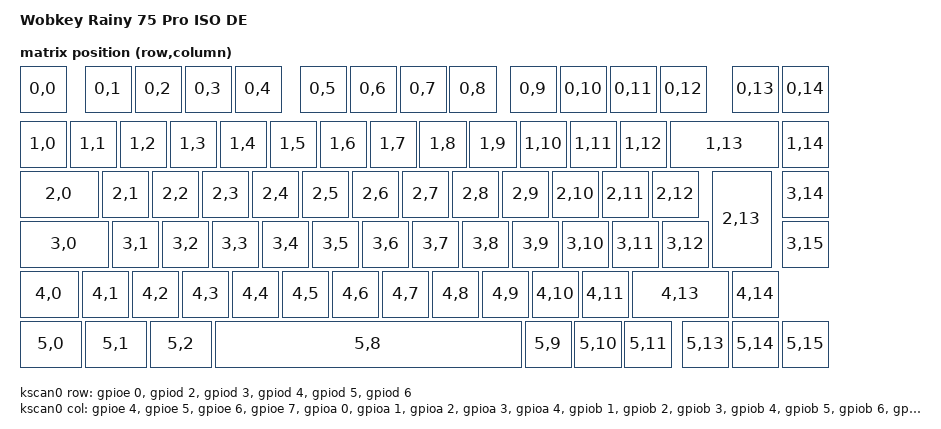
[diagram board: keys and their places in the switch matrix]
/dts-v1/;

#include <freq.h>
#include <telink/telink_b91.dtsi>
#include <zephyr/dt-bindings/gpio/gpio.h>
#include <dt-bindings/zmk/matrix_transform.h>
#include <dt-bindings/led/led.h>
#include <physical_layouts.dtsi>

/ {
	model = "Wobkey Rainy 75 Pro ISO DE";
	compatible = "wobkey,rainy75";

	aliases {
		watchdog0 = &wdt0;
	};

	chosen {
		zephyr,sram = &ram_dlm;
		zephyr,flash = &flash;
		zephyr,flash-controller = &flash_mspi;
		zephyr,code-partition = &slot0_partition;
		zephyr,bt-hci = &bt_hci;
		/* B91 USB SRAM is only 256 bytes — one CDC ACM for mcumgr
		 * DFU (defined in conf/mcumgr.overlay).  Studio uses BLE
		 * GATT transport.  Console logs go to internal ring buffer. */
		zmk,battery = &battery;
		zmk,underglow = &led_strip;
		zmk,kscan = &kscan0;
		zmk,physical-layout = &rainy75_layout;
	};

	bt_hci: bt_hci {
		compatible = "telink,b91-bt-hci";
		status = "okay";
	};

	default_transform: keymap_transform_0 {
		compatible = "zmk,matrix-transform";
		columns = <16>;
		rows = <6>;
		/*
		 * Row 0: ESC  F1  F2  F3  F4  F5  F6  F7  F8  F9  F10  F11  F12  DEL  HOME
		 * Row 1:  `    1   2   3   4   5   6   7   8   9   0    -    =   BKSP  END
		 * Row 2: TAB   Q   W   E   R   T   Y   U   I   O   P    [    ]   ENT
		 * Row 3: CAPS  A   S   D   F   G   H   J   K   L   ;    '    #       PGUP PGDN
		 * Row 4: LSFT  <>  Z   X   C   V   B   N   M   ,   .    /       RSFT  UP
		 * Row 5: LCTL LGUI LALT             SPC            RALT  Fn  RCTL LEFT DOWN RGHT
		 */
		map = <
			RC(0,0) RC(0,1) RC(0,2) RC(0,3) RC(0,4) RC(0,5) RC(0,6) RC(0,7) RC(0,8) RC(0,9) RC(0,10) RC(0,11) RC(0,12) RC(0,13) RC(0,14)
			RC(1,0) RC(1,1) RC(1,2) RC(1,3) RC(1,4) RC(1,5) RC(1,6) RC(1,7) RC(1,8) RC(1,9) RC(1,10) RC(1,11) RC(1,12) RC(1,13) RC(1,14)
			RC(2,0) RC(2,1) RC(2,2) RC(2,3) RC(2,4) RC(2,5) RC(2,6) RC(2,7) RC(2,8) RC(2,9) RC(2,10) RC(2,11) RC(2,12) RC(2,13)
			RC(3,0) RC(3,1) RC(3,2) RC(3,3) RC(3,4) RC(3,5) RC(3,6) RC(3,7) RC(3,8) RC(3,9) RC(3,10) RC(3,11) RC(3,12)           RC(3,14) RC(3,15)
			RC(4,0) RC(4,1) RC(4,2) RC(4,3) RC(4,4) RC(4,5) RC(4,6) RC(4,7) RC(4,8) RC(4,9) RC(4,10) RC(4,11)           RC(4,13) RC(4,14)
			RC(5,0) RC(5,1) RC(5,2)                                         RC(5,8) RC(5,9)  RC(5,10) RC(5,11)           RC(5,13) RC(5,14) RC(5,15)
		>;
	};

	rainy75_layout: rainy75_layout {
		compatible = "zmk,physical-layout";
		display-name = "Rainy 75 Pro ISO";
		transform = <&default_transform>;

		keys  //                     w   h    x    y     rot    rx    ry
		    = <&key_physical_attrs 100 100    0    0       0     0     0>  /* ESC */
		    , <&key_physical_attrs 100 100  130    0       0     0     0>  /* F1 */
		    , <&key_physical_attrs 100 100  230    0       0     0     0>  /* F2 */
		    , <&key_physical_attrs 100 100  330    0       0     0     0>  /* F3 */
		    , <&key_physical_attrs 100 100  430    0       0     0     0>  /* F4 */
		    , <&key_physical_attrs 100 100  560    0       0     0     0>  /* F5 */
		    , <&key_physical_attrs 100 100  660    0       0     0     0>  /* F6 */
		    , <&key_physical_attrs 100 100  760    0       0     0     0>  /* F7 */
		    , <&key_physical_attrs 100 100  860    0       0     0     0>  /* F8 */
		    , <&key_physical_attrs 100 100  980    0       0     0     0>  /* F9 */
		    , <&key_physical_attrs 100 100 1080    0       0     0     0>  /* F10 */
		    , <&key_physical_attrs 100 100 1180    0       0     0     0>  /* F11 */
		    , <&key_physical_attrs 100 100 1280    0       0     0     0>  /* F12 */
		    , <&key_physical_attrs 100 100 1425    0       0     0     0>  /* DEL */
		    , <&key_physical_attrs 100 100 1525    0       0     0     0>  /* HOME */
		    , <&key_physical_attrs 100 100    0  110       0     0     0>  /* ` */
		    , <&key_physical_attrs 100 100  100  110       0     0     0>  /* 1 */
		    , <&key_physical_attrs 100 100  200  110       0     0     0>  /* 2 */
		    , <&key_physical_attrs 100 100  300  110       0     0     0>  /* 3 */
		    , <&key_physical_attrs 100 100  400  110       0     0     0>  /* 4 */
		    , <&key_physical_attrs 100 100  500  110       0     0     0>  /* 5 */
		    , <&key_physical_attrs 100 100  600  110       0     0     0>  /* 6 */
		    , <&key_physical_attrs 100 100  700  110       0     0     0>  /* 7 */
		    , <&key_physical_attrs 100 100  800  110       0     0     0>  /* 8 */
		    , <&key_physical_attrs 100 100  900  110       0     0     0>  /* 9 */
		    , <&key_physical_attrs 100 100 1000  110       0     0     0>  /* 0 */
		    , <&key_physical_attrs 100 100 1100  110       0     0     0>  /* - */
		    , <&key_physical_attrs 100 100 1200  110       0     0     0>  /* = */
		    , <&key_physical_attrs 225 100 1300  110       0     0     0>  /* BKSP */
		    , <&key_physical_attrs 100 100 1525  110       0     0     0>  /* END */
		    , <&key_physical_attrs 165 100    0  210       0     0     0>  /* TAB */
		    , <&key_physical_attrs 100 100  165  210       0     0     0>  /* Q */
		    , <&key_physical_attrs 100 100  265  210       0     0     0>  /* W */
		    , <&key_physical_attrs 100 100  365  210       0     0     0>  /* E */
		    , <&key_physical_attrs 100 100  465  210       0     0     0>  /* R */
		    , <&key_physical_attrs 100 100  565  210       0     0     0>  /* T */
		    , <&key_physical_attrs 100 100  665  210       0     0     0>  /* Y */
		    , <&key_physical_attrs 100 100  765  210       0     0     0>  /* U */
		    , <&key_physical_attrs 100 100  865  210       0     0     0>  /* I */
		    , <&key_physical_attrs 100 100  965  210       0     0     0>  /* O */
		    , <&key_physical_attrs 100 100 1065  210       0     0     0>  /* P */
		    , <&key_physical_attrs 100 100 1165  210       0     0     0>  /* [ */
		    , <&key_physical_attrs 100 100 1265  210       0     0     0>  /* ] */
		    , <&key_physical_attrs 125 200 1385  210       0     0     0>  /* ISO Enter */
		    , <&key_physical_attrs 185 100    0  310       0     0     0>  /* CAPS */
		    , <&key_physical_attrs 100 100  185  310       0     0     0>  /* A */
		    , <&key_physical_attrs 100 100  285  310       0     0     0>  /* S */
		    , <&key_physical_attrs 100 100  385  310       0     0     0>  /* D */
		    , <&key_physical_attrs 100 100  485  310       0     0     0>  /* F */
		    , <&key_physical_attrs 100 100  585  310       0     0     0>  /* G */
		    , <&key_physical_attrs 100 100  685  310       0     0     0>  /* H */
		    , <&key_physical_attrs 100 100  785  310       0     0     0>  /* J */
		    , <&key_physical_attrs 100 100  885  310       0     0     0>  /* K */
		    , <&key_physical_attrs 100 100  985  310       0     0     0>  /* L */
		    , <&key_physical_attrs 100 100 1085  310       0     0     0>  /* ; */
		    , <&key_physical_attrs 100 100 1185  310       0     0     0>  /* ' */
		    , <&key_physical_attrs 100 100 1285  310       0     0     0>  /* # */
		    , <&key_physical_attrs 100 100 1525  210       0     0     0>  /* PGUP */
		    , <&key_physical_attrs 100 100 1525  310       0     0     0>  /* PGDN */
		    , <&key_physical_attrs 125 100    0  410       0     0     0>  /* LSFT */
		    , <&key_physical_attrs 100 100  125  410       0     0     0>  /* <> */
		    , <&key_physical_attrs 100 100  225  410       0     0     0>  /* Z */
		    , <&key_physical_attrs 100 100  325  410       0     0     0>  /* X */
		    , <&key_physical_attrs 100 100  425  410       0     0     0>  /* C */
		    , <&key_physical_attrs 100 100  525  410       0     0     0>  /* V */
		    , <&key_physical_attrs 100 100  625  410       0     0     0>  /* B */
		    , <&key_physical_attrs 100 100  725  410       0     0     0>  /* N */
		    , <&key_physical_attrs 100 100  825  410       0     0     0>  /* M */
		    , <&key_physical_attrs 100 100  925  410       0     0     0>  /* , */
		    , <&key_physical_attrs 100 100 1025  410       0     0     0>  /* . */
		    , <&key_physical_attrs 100 100 1125  410       0     0     0>  /* / */
		    , <&key_physical_attrs 200 100 1225  410       0     0     0>  /* RSFT */
		    , <&key_physical_attrs 100 100 1425  410       0     0     0>  /* UP */
		    , <&key_physical_attrs 130 100    0  510       0     0     0>  /* LCTL */
		    , <&key_physical_attrs 130 100  130  510       0     0     0>  /* GUI */
		    , <&key_physical_attrs 130 100  260  510       0     0     0>  /* ALT */
		    , <&key_physical_attrs 620 100  390  510       0     0     0>  /* SPC */
		    , <&key_physical_attrs 100 100 1010  510       0     0     0>  /* RALT */
		    , <&key_physical_attrs 100 100 1110  510       0     0     0>  /* Fn */
		    , <&key_physical_attrs 100 100 1210  510       0     0     0>  /* RCTL */
		    , <&key_physical_attrs 100 100 1325  510       0     0     0>  /* LEFT */
		    , <&key_physical_attrs 100 100 1425  510       0     0     0>  /* DOWN */
		    , <&key_physical_attrs 100 100 1525  510       0     0     0>  /* RIGHT */
		    ;
	};

	zephyr_udc0: usbd@80100800 {
		compatible = "telink,b91-usbd";
		reg = <0x80100800 0x400>;
		interrupt-parent = <&plic0>;
		interrupts = <11 2>;
		num-bidir-endpoints = <8>;
		status = "okay";
	};

	kscan0: kscan {
		compatible = "zmk,kscan-gpio-matrix";
		diode-direction = "col2row";
		wakeup-source;

		col-gpios
			= <&gpioe 4 GPIO_ACTIVE_LOW>
			, <&gpioe 5 GPIO_ACTIVE_LOW>
			, <&gpioe 6 GPIO_ACTIVE_LOW>
			, <&gpioe 7 GPIO_ACTIVE_LOW>
			, <&gpioa 0 GPIO_ACTIVE_LOW>
			, <&gpioa 1 GPIO_ACTIVE_LOW>
			, <&gpioa 2 GPIO_ACTIVE_LOW>
			, <&gpioa 3 GPIO_ACTIVE_LOW>
			, <&gpioa 4 GPIO_ACTIVE_LOW>
			, <&gpiob 1 GPIO_ACTIVE_LOW>
			, <&gpiob 2 GPIO_ACTIVE_LOW>
			, <&gpiob 3 GPIO_ACTIVE_LOW>
			, <&gpiob 4 GPIO_ACTIVE_LOW>
			, <&gpiob 5 GPIO_ACTIVE_LOW>
			, <&gpiob 6 GPIO_ACTIVE_LOW>
			, <&gpioc 1 GPIO_ACTIVE_LOW>
			;

		row-gpios
			= <&gpioe 0 (GPIO_ACTIVE_LOW | GPIO_PULL_UP)>
			, <&gpiod 2 (GPIO_ACTIVE_LOW | GPIO_PULL_UP)>
			, <&gpiod 3 (GPIO_ACTIVE_LOW | GPIO_PULL_UP)>
			, <&gpiod 4 (GPIO_ACTIVE_LOW | GPIO_PULL_UP)>
			, <&gpiod 5 (GPIO_ACTIVE_LOW | GPIO_PULL_UP)>
			, <&gpiod 6 (GPIO_ACTIVE_LOW | GPIO_PULL_UP)>
			;
	};

	battery: battery-adc {
		compatible = "telink,b91-battery-adc";
		adc-channel = <0x0A>;  /* PD1 — confirmed via ADC scan */
		divider-numerator = <1>;
		divider-denominator = <2>;
		full-mv = <4200>;
		empty-mv = <3300>;
		status = "okay";
	};

	led_strip: ws2812 {
		compatible = "telink,b91-spi-led-strip";
		/* 83 per-key LEDs (no separate underglow strip). Confirmed from
		 * firmware analysis (gp+0x13dc = 249B = 83×3 RGB) and hardware
		 * testing. Matches 83-key ISO 75% layout (15+15+14+15+14+10). */
		chain-length = <83>;
		color-mapping = <LED_COLOR_ID_GREEN
				 LED_COLOR_ID_RED
				 LED_COLOR_ID_BLUE>;
	};

	wdt0: watchdog@80140140 {
		compatible = "telink,b91-watchdog";
		reg = <0x80140140 0x20>;
		status = "okay";
	};
};

&cpu0 {
	clock-frequency = <DT_FREQ_M(48)>;
};

&ram_ilm {
	reg = <0x00000000 0x00020000>;
};

&ram_dlm {
	reg = <0x00080000 0x00020000>;
};

&flash {
	reg = <0x20000000 0x100000>;

	partitions {
		compatible = "fixed-partitions";
		#address-cells = <1>;
		#size-cells = <1>;

		boot_partition: partition@0 {
			label = "mcuboot";
			reg = <0x0 0x10000>;
		};

		slot0_partition: partition@10000 {
			label = "image-0";
			reg = <0x10000 0x70000>;
		};

		slot1_partition: partition@80000 {
			label = "image-1";
			reg = <0x80000 0x70000>;
		};

		storage_partition: partition@f0000 {
			label = "storage";
			reg = <0xf0000 0xe000>;
		};

		/*
		 * 0xFE000-0xFEFFF: RF/ADC calibration data (Telink SDK)
		 * 0xFF000-0xFF005: BLE MAC address
		 * Both regions must be preserved — do not include in partitions.
		 */
	};
};

&pinctrl {
	pad-mul-sel = <1>;
};

&gpioa {
	status = "okay";
};

&gpiob {
	status = "okay";
};

&gpioc {
	status = "okay";
};

&gpiod {
	status = "okay";
	/* Kscan row interrupts: override SoC's 3-IRQ definition to single IRQ.
	 * B91 GPIO driver requires DT_NUM_IRQS==1 for IRQ_CONNECT.
	 * Use IRQ_GPIO (source 25) for Port D rows: per-port irq_en register
	 * (gpio->irq_en at offset +7) is NOT shared across ports, unlike RISC0/RISC1
	 * which have cross-port per-pin enable registers at shared addresses.
	 * RISC0 (26) had PB spurious fires (POR defaults + peripheral re-enable). */
	interrupts = <25 1>;
};

&gpioe {
	status = "okay";
	interrupts = <27 1>;
};

/*
 * Override mtimer interrupt parent: the standard RISC-V machine timer fires
 * as MTIP (mcause=7), a level-1 interrupt handled directly by the core.
 * The upstream B91 DTSI incorrectly routes it through the PLIC as source 7,
 * which collides with IRQ7_USB_CTRL_EP_SETUP when we enable USB.
 *
 * With CONFIG_2ND_LVL_ISR_TBL_OFFSET=12, PLIC ISR table entries start at
 * offset 12, so PLIC source 7 → _sw_isr_table[19] and MTIP → _sw_isr_table[7].
 */
&mtimer {
	interrupts-extended = <&hlic 7>;
};
